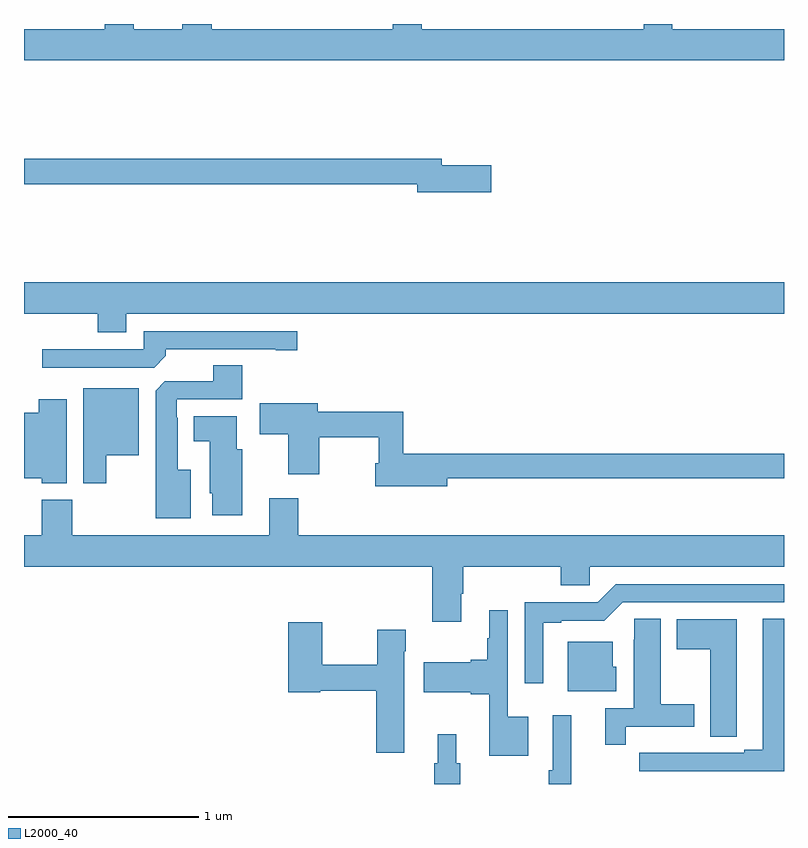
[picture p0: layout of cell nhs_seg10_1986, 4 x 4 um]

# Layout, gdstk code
import gdstk
lib = gdstk.Library(unit=1e-6, precision=1e-09)
def P(c, l, *ps):  # polygons
    for p in ps: c.add(gdstk.Polygon(p, *l))
L2000_40 = (2000, 40)

nhs_seg10_1986 = lib.new_cell('nhs_seg10_1986')
P(nhs_seg10_1986, L2000_40, [(219,1308.472),(218.412,1308.472),(218.412,1308.5),(218.261,1308.5),(218.261,1308.472),(217.093,1308.472),(217.093,1308.5),(216.941,1308.5),(216.941,1308.472),(215.987,1308.472),(215.987,1308.5),(215.834,1308.5),(215.834,1308.472),(215.578,1308.472),(215.578,1308.5),(215.426,1308.5),(215.426,1308.472),(215,1308.472),(215,1308.308),(219,1308.308)],
  [(217.459,1307.756),(217.198,1307.756),(217.198,1307.792),(215,1307.792),(215,1307.656),(217.07,1307.656),(217.07,1307.614),(217.459,1307.614)],
  [(215.539,1306.976),(219,1306.976),(219,1307.14),(215,1307.14),(215,1306.976),(215.387,1306.976),(215.387,1306.877),(215.539,1306.877)],
  [(215.747,1306.754),(215.747,1306.788),(216.326,1306.788),(216.326,1306.783),(216.439,1306.783),(216.439,1306.884),(215.631,1306.884),(215.631,1306.788),(215.097,1306.788),(215.097,1306.692),(215.685,1306.692)],
  [(215.878,1306.153),(215.809,1306.153),(215.809,1306.427),(215.805,1306.427),(215.805,1306.524),(216.149,1306.524),(216.149,1306.703),(215.996,1306.703),(215.996,1306.62),(215.742,1306.62),(215.693,1306.571),(215.693,1305.899),(215.878,1305.899)],
  [(215.434,1306.229),(215.605,1306.229),(215.605,1306.582),(215.312,1306.582),(215.312,1306.083),(215.434,1306.083)],
  [(215.224,1306.525),(215.078,1306.525),(215.078,1306.453),(215,1306.453),(215,1306.109),(215.094,1306.109),(215.094,1306.082),(215.224,1306.082)],
  [(217.228,1306.11),(219,1306.11),(219,1306.238),(216.995,1306.238),(216.995,1306.46),(216.547,1306.46),(216.547,1306.504),(216.24,1306.504),(216.24,1306.342),(216.392,1306.342),(216.392,1306.131),(216.555,1306.131),(216.555,1306.324),(216.867,1306.324),(216.867,1306.189),(216.848,1306.189),(216.848,1306.067),(217.228,1306.067)],
  [(216.148,1306.263),(216.121,1306.263),(216.121,1306.435),(215.894,1306.435),(215.894,1306.304),(215.978,1306.304),(215.978,1306.029),(215.99,1306.029),(215.99,1305.915),(216.148,1305.915)],
  [(217.3,1305.502),(217.313,1305.502),(217.313,1305.644),(217.826,1305.644),(217.826,1305.546),(217.977,1305.546),(217.977,1305.644),(219,1305.644),(219,1305.808),(216.443,1305.808),(216.443,1306.003),(216.29,1306.003),(216.29,1305.808),(215.253,1305.808),(215.253,1305.997),(215.093,1305.997),(215.093,1305.808),(215,1305.808),(215,1305.644),(217.148,1305.644),(217.148,1305.354),(217.3,1305.354)],
  [(217.732,1305.348),(217.828,1305.348),(217.828,1305.36),(218.055,1305.36),(218.151,1305.456),(219,1305.456),(219,1305.552),(218.115,1305.552),(218.019,1305.456),(217.635,1305.456),(217.635,1305.03),(217.732,1305.03)],
  [(217.654,1304.854),(217.545,1304.854),(217.545,1305.415),(217.448,1305.415),(217.448,1305.266),(217.437,1305.266),(217.437,1305.155),(217.352,1305.155),(217.352,1305.142),(217.104,1305.142),(217.104,1304.984),(217.352,1304.984),(217.352,1304.972),(217.448,1304.972),(217.448,1304.648),(217.654,1304.648)],
  [(219,1305.371),(218.888,1305.371),(218.888,1304.679),(218.792,1304.679),(218.792,1304.664),(218.516,1304.664),(218.516,1304.665),(218.35,1304.665),(218.35,1304.664),(218.238,1304.664),(218.238,1304.568),(219,1304.568)],
  [(218.168,1304.802),(218.527,1304.802),(218.527,1304.919),(218.35,1304.919),(218.35,1305.371),(218.211,1305.371),(218.211,1305.26),(218.21,1305.26),(218.21,1304.898),(218.06,1304.898),(218.06,1304.706),(218.168,1304.706)],
  [(218.751,1304.857),(218.752,1304.857),(218.752,1305.367),(218.435,1305.367),(218.435,1305.208),(218.612,1305.208),(218.612,1304.749),(218.751,1304.749)],
  [(217,1305.2),(217.008,1305.2),(217.008,1305.313),(216.859,1305.313),(216.859,1305.128),(216.57,1305.128),(216.57,1305.352),(216.392,1305.352),(216.392,1304.984),(216.558,1304.984),(216.558,1304.992),(216.854,1304.992),(216.854,1304.664),(217,1304.664)],
  [(218.116,1305.117),(218.098,1305.117),(218.098,1305.25),(217.862,1305.25),(217.862,1304.987),(218.116,1304.987)],
  [(217.88,1304.863),(217.782,1304.863),(217.782,1304.572),(217.762,1304.572),(217.762,1304.5),(217.88,1304.5)],
  [(217.295,1304.61),(217.276,1304.61),(217.276,1304.761),(217.178,1304.761),(217.178,1304.61),(217.159,1304.61),(217.159,1304.5),(217.295,1304.5)])

lib.write_gds('nhs_seg10_1986.gds')
